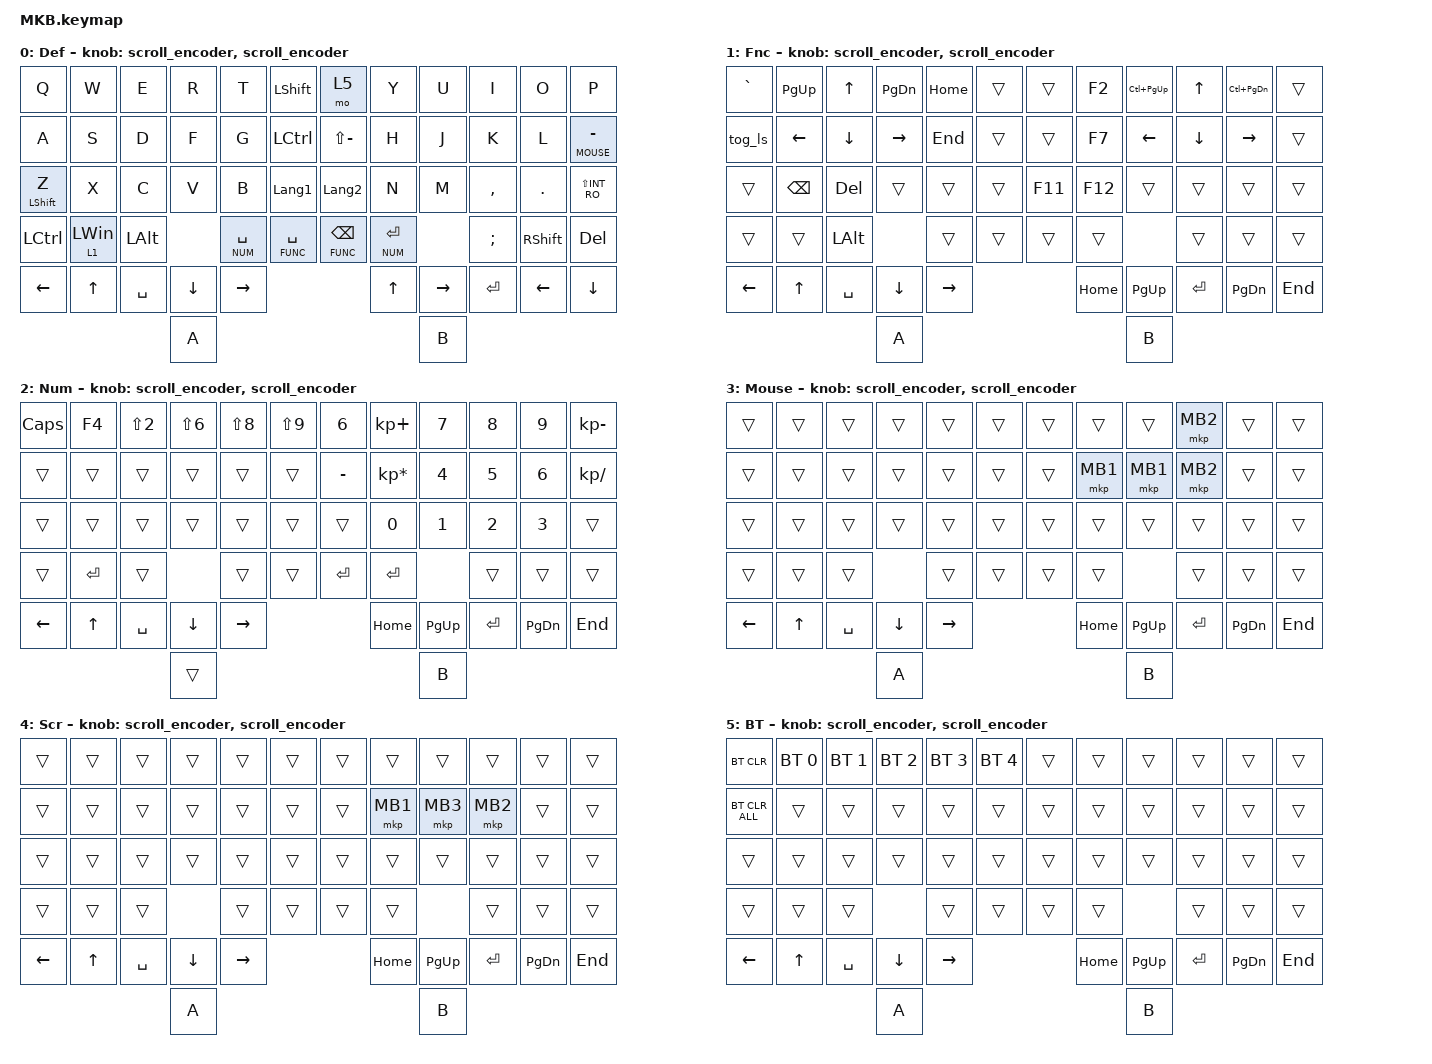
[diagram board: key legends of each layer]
// #include <layout_shift.dtsi>

#include <layout_shift_kp_override.dtsi>
#include <behaviors.dtsi>
#include <dt-bindings/zmk/bt.h>
#include <dt-bindings/zmk/keys.h>
#include <dt-bindings/zmk/pointing.h>

#define DEF 0
#define FUNC 1
#define NUM 2
#define MOUSE 3
#define SCROLL 4
#define BT 5

&mt {
    flavor = "balanced";
    tapping-term-ms = <280>;
    quick-tap-ms = <175>;
    require-prior-idle-ms = <150>;
};

/ {
    /* 1. behaviorsを正しい位置（combosの外）に配置 */

    behaviors {
        scroll_encoder: scroll_encoder {
            compatible = "zmk,behavior-sensor-rotate";
            #sensor-binding-cells = <0>;
            bindings = <&msc SCRL_DOWN>, <&msc SCRL_UP>;

            tap-ms = <30>;
        };
    };

    combos {
        compatible = "zmk,combos";

        esc {
            bindings = <&kp ESCAPE>;
            key-positions = <0 1>;
        };

        tab {
            bindings = <&kp TAB>;
            key-positions = <12 13>;
        };

        del {
            bindings = <&kp DELETE>;
            key-positions = <10 11>;
        };
    };

    keymap {
        compatible = "zmk,keymap";

        default_layer {
            label = "Def";
            bindings = <
&kp Q             &kp W           &kp E      &kp R     &kp T          &kp LEFT_SHIFT        &mo 5               &kp Y          &kp U      &kp I          &kp O            &kp P
&kp A             &kp S           &kp D      &kp F     &kp G          &kp LEFT_CONTROL      &kp LS(MINUS)       &kp H          &kp J      &kp K          &kp L            &lt MOUSE MINUS
&mt LEFT_SHIFT Z  &kp X           &kp C      &kp V     &kp B          &kp LANGUAGE_1        &kp LANGUAGE_2      &kp N          &kp M      &kp COMMA      &kp DOT          &kp LS(INT_RO)
&kp LCTRL         &lt 1 LEFT_WIN  &kp LALT             &lt NUM SPACE  &lt FUNC SPACE        &lt FUNC BACKSPACE  &lt NUM ENTER             &kp SEMICOLON  &kp RIGHT_SHIFT  &kp DEL
&kp LEFT          &kp UP          &kp SPACE  &kp DOWN  &kp RIGHT                                                &kp UP_ARROW   &kp RIGHT  &kp ENTER      &kp LEFT_ARROW   &kp DOWN_ARROW
                                             &kp A                                                                             &kp B
            >;

            sensor-bindings = <&scroll_encoder>, <&scroll_encoder>;
        };

        function_layer {
            label = "Fnc";
            bindings = <
&kp GRAVE  &kp PG_UP  &kp UP     &kp PG_DN  &kp HOME   &trans      &trans   &kp F2    &kp LC(PAGE_UP)  &kp UP_ARROW    &kp LC(PAGE_DOWN)  &trans
&tog_ls    &kp LEFT   &kp DOWN   &kp RIGHT  &kp END    &trans      &trans   &kp F7    &kp LEFT_ARROW   &kp DOWN_ARROW  &kp RIGHT_ARROW    &trans
&trans     &kp BKSP   &kp DEL    &trans     &trans     &trans      &kp F11  &kp F12   &trans           &trans          &trans             &trans
&trans     &trans     &kp LALT              &trans     &trans      &trans   &trans                     &trans          &trans             &trans
&kp LEFT   &kp UP     &kp SPACE  &kp DOWN   &kp RIGHT                       &kp HOME  &kp PG_UP        &kp ENTER       &kp PG_DN          &kp END
                                 &kp A                                                &kp B
            >;

            sensor-bindings = <&scroll_encoder>, <&scroll_encoder>;
        };

        num_layer {
            label = "Num";
            bindings = <
&kp CAPS  &kp F4     &kp LS(N2)  &kp LS(NUMBER_6)  &kp LS(N8)  &kp LS(N9)      &kp N6     &kp KP_PLUS      &kp NUMBER_7  &kp NUMBER_8  &kp NUMBER_9  &kp KP_MINUS
&trans    &trans     &trans      &trans            &trans      &trans          &kp MINUS  &kp KP_MULTIPLY  &kp NUMBER_4  &kp NUMBER_5  &kp NUMBER_6  &kp KP_SLASH
&trans    &trans     &trans      &trans            &trans      &trans          &trans     &kp NUMBER_0     &kp NUMBER_1  &kp NUMBER_2  &kp NUMBER_3  &trans
&trans    &kp ENTER  &trans                        &trans      &trans          &kp ENTER  &kp ENTER                      &trans        &trans        &trans
&kp LEFT  &kp UP     &kp SPACE   &kp DOWN          &kp RIGHT                              &kp HOME         &kp PG_UP     &kp ENTER     &kp PG_DN     &kp END
                                 &trans                                                                    &kp B
            >;

            sensor-bindings = <&scroll_encoder>, <&scroll_encoder>;
        }; /* 2. num_layerを閉じるカッコを追加 */
        mouse_layer {
            label = "Mouse";
            bindings = <
&trans    &trans  &trans     &trans    &trans     &trans      &trans  &trans    &trans     &mkp MB2   &trans     &trans
&trans    &trans  &trans     &trans    &trans     &trans      &trans  &mkp MB1  &mkp MB1   &mkp MB2   &trans     &trans
&trans    &trans  &trans     &trans    &trans     &trans      &trans  &trans    &trans     &trans     &trans     &trans
&trans    &trans  &trans               &trans     &trans      &trans  &trans               &trans     &trans     &trans
&kp LEFT  &kp UP  &kp SPACE  &kp DOWN  &kp RIGHT                      &kp HOME  &kp PG_UP  &kp ENTER  &kp PG_DN  &kp END
                             &kp A                                              &kp B
            >;

            sensor-bindings = <&scroll_encoder>, <&scroll_encoder>;
        };

        scroll_layer {
            label = "Scr";
            bindings = <
&trans    &trans  &trans     &trans    &trans     &trans      &trans  &trans    &trans     &trans     &trans     &trans
&trans    &trans  &trans     &trans    &trans     &trans      &trans  &mkp MB1  &mkp MB3   &mkp MB2   &trans     &trans
&trans    &trans  &trans     &trans    &trans     &trans      &trans  &trans    &trans     &trans     &trans     &trans
&trans    &trans  &trans               &trans     &trans      &trans  &trans               &trans     &trans     &trans
&kp LEFT  &kp UP  &kp SPACE  &kp DOWN  &kp RIGHT                      &kp HOME  &kp PG_UP  &kp ENTER  &kp PG_DN  &kp END
                             &kp A                                              &kp B
            >;

            sensor-bindings = <&scroll_encoder>, <&scroll_encoder>;
        };

        bt_layer {
            label = "BT";
            bindings = <
&bt BT_CLR      &bt BT_SEL 0  &bt BT_SEL 1  &bt BT_SEL 2  &bt BT_SEL 3  &bt BT_SEL 4      &trans  &trans    &trans     &trans     &trans     &trans
&bt BT_CLR_ALL  &trans        &trans        &trans        &trans        &trans            &trans  &trans    &trans     &trans     &trans     &trans
&trans          &trans        &trans        &trans        &trans        &trans            &trans  &trans    &trans     &trans     &trans     &trans
&trans          &trans        &trans                      &trans        &trans            &trans  &trans               &trans     &trans     &trans
&kp LEFT        &kp UP        &kp SPACE     &kp DOWN      &kp RIGHT                               &kp HOME  &kp PG_UP  &kp ENTER  &kp PG_DN  &kp END
                                            &kp A                                                           &kp B
            >;

            sensor-bindings = <&scroll_encoder>, <&scroll_encoder>;
        };
    };
};
